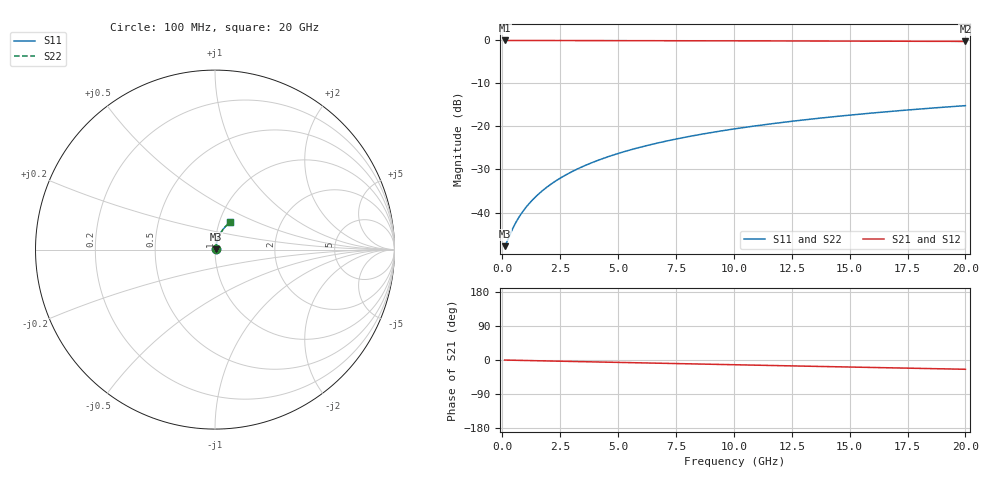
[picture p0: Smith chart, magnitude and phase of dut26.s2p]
! Touchstone file exported from HFSS 2026.1.0
!  File:  C:/ffzhzh/LocalFiles/Ansys_Project_Files/temp_train_TMRDL_26_1782880416_42304.aedt
!  Generated:  12:34:43 PM Jul  1, 2026
!  Design:  TMRDL
!  Project:  temp_train_TMRDL_26_1782880416_42304
! Variables:
!  h_bsmrdl = 2um
!  h_ox = 20um
!  h_rdl = 5um
!  h_sub = 80um
!  h_tmrdl = 3.34um
!  h_tsv = 80um
!  h_via = 3um
!  l_bsmrdl = 300um
!  l_sub = 797.63um
!  l_tmrdl = 397.63um
!  m_sub = 200um
!  pitch = 20.08um
!  r_tsv = 6um
!  s_tmrdl = 10um
!  w_bsmrdl = 18um
!  w_sub = 500um
!  w_tmrdl = 11.08um
!  x_tsv_center1 = 403.17um
!  x_tsv_center2 = 721.17um
!  x_tsv_center3 = 1129.88um
!  x_tsv_center4 = 1447.88um
!  x_tsv_center5 = 1856.59um
!  x_tsv_center6 = 2174.59um
# GHz S MA R 50.000000
! Terminal data exported
! Port[1] = TM_RDL1_1_T1
! Port[2] = TM_RDL1_1_T2
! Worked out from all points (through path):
!   200 points, 100 MHz to 20 GHz, reference 50 ohm
!   highest |S21| = -0.03 dB at 100 MHz (marker M1); lowest = -0.3 dB at 20 GHz (marker M2)
!   group delay of S21, straight-line fit = 3.39 ps
!   lowest |S11| = -47.8 dB at 100 MHz (marker M3), VSWR 1.01, Z = 50.4 + j0.115 ohm
!   |S11| at or under -10 dB: start of sweep to end of sweep
!   |S22| runs from -47.8 to -15.2 dB; largest |S21 - S12| = 3.4e-15
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0.1  0.004065 16.2  0.9961 -0.1  0.9961 -0.1  0.004065 16.2
! Gamma 0 0 0 0
! Port Impedance 50 0 50 0
0.2  0.004578 29.5  0.996 -0.3  0.996 -0.3  0.004578 29.5
0.4  0.006085 45.8  0.9958 -0.5  0.9958 -0.5  0.006085 45.8
0.5  0.006927 50.8  0.9957 -0.7  0.9957 -0.7  0.006926 50.8
0.7  0.00865 57.6  0.9955 -0.9  0.9955 -0.9  0.00865 57.6
1  0.01128 63.9  0.9952 -1.3  0.9952 -1.3  0.01128 63.9
1.3  0.01396 67.8  0.995 -1.7  0.995 -1.7  0.01396 67.8
1.5  0.01578 69.7  0.9949 -1.9  0.9949 -1.9  0.01578 69.7
1.8  0.01853 71.8  0.9948 -2.3  0.9948 -2.3  0.01853 71.8
2.3  0.02318 74.0  0.9945 -2.9  0.9945 -2.9  0.02318 74.0
2.9  0.02881 75.4  0.9941 -3.7  0.9941 -3.7  0.02881 75.4
3.5  0.03444 76.0  0.9937 -4.5  0.9937 -4.5  0.03444 76.0
4.2  0.04101 76.2  0.9932 -5.3  0.9932 -5.3  0.04101 76.3
5  0.04847 76.1  0.9925 -6.3  0.9925 -6.3  0.04846 76.1
5.9  0.05678 75.6  0.9916 -7.5  0.9916 -7.5  0.05678 75.6
6.8  0.065 74.9  0.9906 -8.6  0.9906 -8.6  0.06499 74.9
8.3  0.07846 73.6  0.9887 -10.4  0.9887 -10.4  0.07846 73.6
10.1  0.09424 71.7  0.9863 -12.6  0.9863 -12.6  0.09423 71.7
11.7  0.1079 70.0  0.9841 -14.6  0.9841 -14.6  0.1079 70.1
13.4  0.1221 68.2  0.9816 -16.6  0.9816 -16.6  0.1221 68.2
16.7  0.1488 64.6  0.9765 -20.6  0.9765 -20.6  0.1488 64.7
20  0.1743 61.1  0.9711 -24.5  0.9711 -24.5  0.1743 61.1
